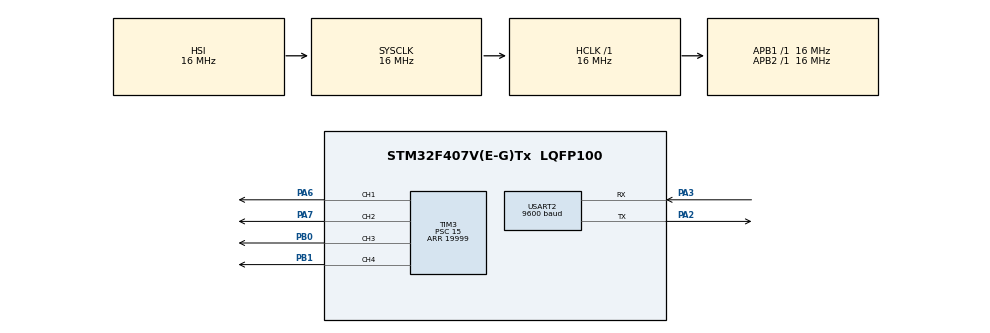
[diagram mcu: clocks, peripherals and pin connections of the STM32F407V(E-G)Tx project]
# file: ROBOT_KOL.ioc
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Mcu.Family=STM32F4
Mcu.Name=STM32F407V(E-G)Tx
Mcu.Package=LQFP100
NVIC.PriorityGroup=NVIC_PRIORITYGROUP_4
NVIC.TIM3_IRQn=true\:0\:0\:false\:false\:true\:true\:true\:true
NVIC.USART2_IRQn=true\:0\:0\:false\:false\:true\:true\:true\:true
PA13.Mode=Serial_Wire
PA13.Signal=SYS_JTMS-SWDIO
PA14.Mode=Serial_Wire
PA14.Signal=SYS_JTCK-SWCLK
PA2.Mode=Asynchronous
PA2.Signal=USART2_TX
PA3.Mode=Asynchronous
PA3.Signal=USART2_RX
PA6.Signal=S_TIM3_CH1
PA7.Signal=S_TIM3_CH2
PB0.Signal=S_TIM3_CH3
PB1.Signal=S_TIM3_CH4
ProjectManager.HeapSize=0x200
ProjectManager.StackSize=0x400
ProjectManager.TargetToolchain=STM32CubeIDE
RCC.AHBFreq_Value=16000000
RCC.APB1Freq_Value=16000000
RCC.APB2Freq_Value=16000000
RCC.CortexFreq_Value=16000000
RCC.HSE_VALUE=25000000
RCC.HSI_VALUE=16000000
RCC.LSE_VALUE=32768
RCC.SYSCLKFreq_VALUE=16000000
RCC.VCOOutputFreq_Value=192000000
SH.S_TIM3_CH1.0=TIM3_CH1,PWM Generation1 CH1
SH.S_TIM3_CH2.0=TIM3_CH2,PWM Generation2 CH2
SH.S_TIM3_CH3.0=TIM3_CH3,PWM Generation3 CH3
SH.S_TIM3_CH4.0=TIM3_CH4,PWM Generation4 CH4
TIM3.Channel-PWM\ Generation1\ CH1=TIM_CHANNEL_1
TIM3.Channel-PWM\ Generation2\ CH2=TIM_CHANNEL_2
TIM3.Channel-PWM\ Generation3\ CH3=TIM_CHANNEL_3
TIM3.Channel-PWM\ Generation4\ CH4=TIM_CHANNEL_4
TIM3.Period=19999
TIM3.Prescaler=15
TIM3.Pulse-PWM\ Generation1\ CH1=1500
TIM3.Pulse-PWM\ Generation2\ CH2=1500
TIM3.Pulse-PWM\ Generation3\ CH3=1500
TIM3.Pulse-PWM\ Generation4\ CH4=1500
USART2.BaudRate=9600
USART2.VirtualMode=VM_ASYNC
board=custom

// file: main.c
/* USER CODE BEGIN Header */
/**
  ******************************************************************************
  * @file           : main.c
  * @brief          : Main program body
  ******************************************************************************
  * @attention
  *
  * Copyright (c) 2025 STMicroelectronics.
  * All rights reserved.
  *
  * This software is licensed under terms that can be found in the LICENSE file
  * in the root directory of this software component.
  * If no LICENSE file comes with this software, it is provided AS-IS.
  *
  ******************************************************************************
  */
/* USER CODE END Header */
#include "main.h"

TIM_HandleTypeDef htim3;
UART_HandleTypeDef huart2;

/* USER CODE BEGIN PV */
/* USER CODE BEGIN PV */
uint8_t getData[1];

// Her servo motor için ayrı PWM değişkeni
int pwm1 = 1500;
int pwm2 = 1500;
int pwm3 = 1500;
int pwm4 = 1500;

void ileri(){
	pwm1 += 100;
	if(pwm1 > 2000) pwm1 = 2000;
	TIM3->CCR1 = pwm1;
	TIM3->CCR2 = pwm1;
}

void geri(){
	pwm1 -= 100;
	if(pwm1 < 1000) pwm1 = 1000;
	TIM3->CCR1 = pwm1;
	TIM3->CCR2 = pwm1;
}

 void sol(){
	pwm3 += 100;
	if(pwm3 > 2000) pwm3 = 2000;
	TIM3->CCR3 = pwm3;
}

 void sag(){
	pwm3 -= 100;
	if(pwm3 < 1000) pwm3 = 1000;
	TIM3->CCR3 = pwm3;
}

 void kiskac_ac(){
	pwm4 += 100;
	if(pwm4 > 2000) pwm4 = 2000;
	TIM3->CCR4 = pwm4;
}

 void kiskac_kapat(){
	pwm4 -= 100;
	if(pwm4 < 1000) pwm4 = 1000;
	TIM3->CCR4 = pwm4;
}

/* USER CODE END PV */

void SystemClock_Config(void);
static void MX_GPIO_Init(void);
static void MX_TIM3_Init(void);
static void MX_USART2_UART_Init(void);

int main(void)
{
  HAL_Init();
  SystemClock_Config();
  MX_GPIO_Init();
  MX_TIM3_Init();
  MX_USART2_UART_Init();

  HAL_TIM_PWM_Start_IT(&htim3, TIM_CHANNEL_1);
  HAL_TIM_PWM_Start_IT(&htim3, TIM_CHANNEL_2);
  HAL_TIM_PWM_Start_IT(&htim3, TIM_CHANNEL_3);
  HAL_TIM_PWM_Start_IT(&htim3, TIM_CHANNEL_4);

  HAL_UART_Receive_IT(&huart2, getData, 1);

  while (1)
  {
	if(getData[0] == 'w'){
		ileri();
		getData[0] = 'q';
	}
	else if(getData[0] == 's'){
		geri();
		getData[0] = 'q';
	}
	else if(getData[0] == 'd'){
		sol();
		getData[0] = 'q';
	}
	else if(getData[0] == 'a'){
		sag();
		getData[0] = 'q';
	}
	else if(getData[0] == 'b'){
		kiskac_ac();
		getData[0] = 'q';
	}
	else if(getData[0] == 'x'){
		kiskac_kapat();
		getData[0] = 'q';
	}
  }
}

/* USER CODE BEGIN 4 */
void HAL_UART_RxCpltCallback(UART_HandleTypeDef *huart)
{
	if(huart->Instance == USART2)
	{
		HAL_UART_Receive_IT(&huart2, getData, 1);
	}
}
/* USER CODE END 4 */

void SystemClock_Config(void)
{
  RCC_OscInitTypeDef RCC_OscInitStruct = {0};
  RCC_ClkInitTypeDef RCC_ClkInitStruct = {0};

  __HAL_RCC_PWR_CLK_ENABLE();
  __HAL_PWR_VOLTAGESCALING_CONFIG(PWR_REGULATOR_VOLTAGE_SCALE1);

  RCC_OscInitStruct.OscillatorType = RCC_OSCILLATORTYPE_HSI;
  RCC_OscInitStruct.HSIState = RCC_HSI_ON;
  RCC_OscInitStruct.HSICalibrationValue = RCC_HSICALIBRATION_DEFAULT;
  RCC_OscInitStruct.PLL.PLLState = RCC_PLL_NONE;
  if (HAL_RCC_OscConfig(&RCC_OscInitStruct) != HAL_OK)
  {
    Error_Handler();
  }

  RCC_ClkInitStruct.ClockType = RCC_CLOCKTYPE_HCLK|RCC_CLOCKTYPE_SYSCLK
                              |RCC_CLOCKTYPE_PCLK1|RCC_CLOCKTYPE_PCLK2;
  RCC_ClkInitStruct.SYSCLKSource = RCC_SYSCLKSOURCE_HSI;
  RCC_ClkInitStruct.AHBCLKDivider = RCC_SYSCLK_DIV1;
  RCC_ClkInitStruct.APB1CLKDivider = RCC_HCLK_DIV1;
  RCC_ClkInitStruct.APB2CLKDivider = RCC_HCLK_DIV1;

  if (HAL_RCC_ClockConfig(&RCC_ClkInitStruct, FLASH_LATENCY_0) != HAL_OK)
  {
    Error_Handler();
  }
}

static void MX_TIM3_Init(void)
{
  TIM_MasterConfigTypeDef sMasterConfig = {0};
  TIM_OC_InitTypeDef sConfigOC = {0};

  htim3.Instance = TIM3;
  htim3.Init.Prescaler = 15;
  htim3.Init.CounterMode = TIM_COUNTERMODE_UP;
  htim3.Init.Period = 19999;
  htim3.Init.ClockDivision = TIM_CLOCKDIVISION_DIV1;
  htim3.Init.AutoReloadPreload = TIM_AUTORELOAD_PRELOAD_DISABLE;
  if (HAL_TIM_PWM_Init(&htim3) != HAL_OK)
  {
    Error_Handler();
  }

  sMasterConfig.MasterOutputTrigger = TIM_TRGO_RESET;
  sMasterConfig.MasterSlaveMode = TIM_MASTERSLAVEMODE_DISABLE;
  if (HAL_TIMEx_MasterConfigSynchronization(&htim3, &sMasterConfig) != HAL_OK)
  {
    Error_Handler();
  }

  sConfigOC.OCMode = TIM_OCMODE_PWM1;
  sConfigOC.Pulse = 1500;
  sConfigOC.OCPolarity = TIM_OCPOLARITY_HIGH;
  sConfigOC.OCFastMode = TIM_OCFAST_DISABLE;

  HAL_TIM_PWM_ConfigChannel(&htim3, &sConfigOC, TIM_CHANNEL_1);
  HAL_TIM_PWM_ConfigChannel(&htim3, &sConfigOC, TIM_CHANNEL_2);
  HAL_TIM_PWM_ConfigChannel(&htim3, &sConfigOC, TIM_CHANNEL_3);
  HAL_TIM_PWM_ConfigChannel(&htim3, &sConfigOC, TIM_CHANNEL_4);

  HAL_TIM_MspPostInit(&htim3);
}

static void MX_USART2_UART_Init(void)
{
  huart2.Instance = USART2;
  huart2.Init.BaudRate = 9600;
  huart2.Init.WordLength = UART_WORDLENGTH_8B;
  huart2.Init.StopBits = UART_STOPBITS_1;
  huart2.Init.Parity = UART_PARITY_NONE;
  huart2.Init.Mode = UART_MODE_TX_RX;
  huart2.Init.HwFlowCtl = UART_HWCONTROL_NONE;
  huart2.Init.OverSampling = UART_OVERSAMPLING_16;
  if (HAL_UART_Init(&huart2) != HAL_OK)
  {
    Error_Handler();
  }
}

static void MX_GPIO_Init(void)
{
  __HAL_RCC_GPIOA_CLK_ENABLE();
  __HAL_RCC_GPIOB_CLK_ENABLE();
}

void Error_Handler(void)
{
  __disable_irq();
  while (1)
  {
  }
}
